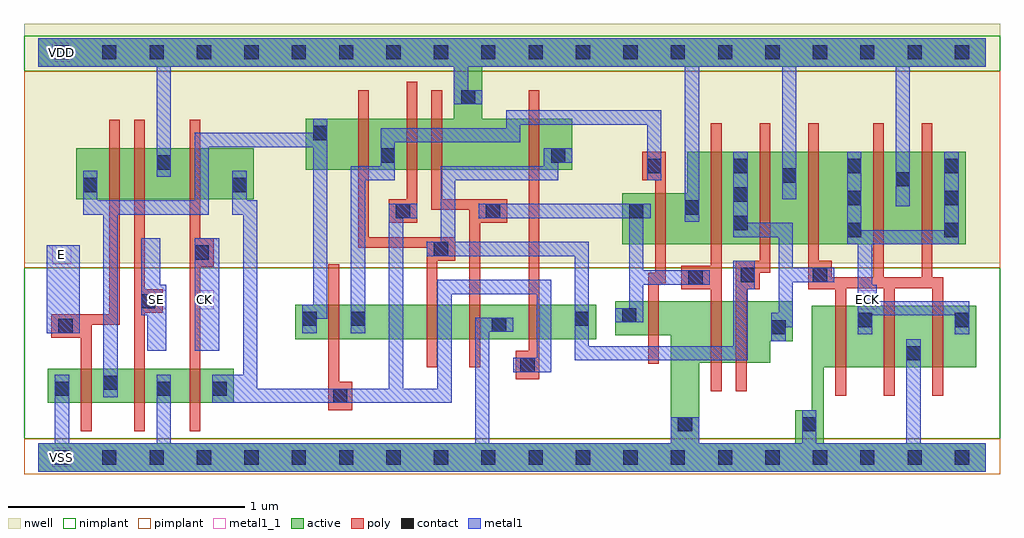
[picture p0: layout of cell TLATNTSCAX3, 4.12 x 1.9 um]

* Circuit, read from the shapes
.subckt TLATNTSCAX3 CK E ECK SE VDD VSS
M1 n1 E VSS VSS nfet w=0.145u l=0.045u
M2 VSS SE n1 VSS nfet w=0.145u l=0.045u
M3 n2 CK VSS VSS nfet w=0.145u l=0.045u
M4 n3 n2 n1 VSS nfet w=0.145u l=0.045u
M5 n4 n5 n3 VSS nfet w=0.145u l=0.045u
M6 VSS n6 n4 VSS nfet w=0.145u l=0.045u
M7 n5 n2 VSS VSS nfet w=0.145u l=0.045u
M8 VSS n3 n6 VSS nfet w=0.145u l=0.045u
M9 n7 n6 VSS VSS nfet w=0.26u l=0.045u
M10 n8 n5 n7 VSS nfet w=0.26u l=0.045u
M11 ECK n8 VSS VSS nfet w=0.26u l=0.045u m=3
M12 n9 E n1 VDD pfet w=0.215u l=0.045u
M13 VDD SE n9 VDD pfet w=0.215u l=0.045u
M14 n2 CK VDD VDD pfet w=0.215u l=0.045u
M15 n3 n5 n1 VDD pfet w=0.215u l=0.045u
M16 n10 n2 n3 VDD pfet w=0.215u l=0.045u
M17 VDD n6 n10 VDD pfet w=0.215u l=0.045u
M18 n5 n2 VDD VDD pfet w=0.215u l=0.045u
M19 VDD n3 n6 VDD pfet w=0.215u l=0.045u
M20 n8 n6 VDD VDD pfet w=0.39u l=0.045u
M21 VDD n5 n8 VDD pfet w=0.39u l=0.045u
M22 ECK n8 VDD VDD pfet w=0.39u l=0.045u m=3
.ends

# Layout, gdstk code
import gdstk
lib = gdstk.Library(unit=1e-6, precision=5e-10)
def R(c, l, rs):  # rectangles x0, y0, x1, y1
    for r in rs: c.add(gdstk.rectangle(r[:2], r[2:], *l))
def A(c, l, x, y, w, h, nx, ny, dx, dy):  # array of equal rectangles
    R(c, l, [(x+i*dx, y+j*dy, x+i*dx+w, y+j*dy+h) for i in range(nx) for j in range(ny)])
def P(c, l, *ps):  # polygons
    for p in ps: c.add(gdstk.Polygon(p, *l))
active = (1, 0)
nwell = (2, 0)
poly = (3, 0)
nimplant = (4, 0)
pimplant = (5, 0)
contact = (6, 0)
metal1 = (7, 0)
metal1_1 = (7, 1)

tlatntscax3 = lib.new_cell('TLATNTSCAX3')
R(tlatntscax3, active, [(0.04,0.23,0.825,0.375), (1.085,0.5,2.355,0.645), (0.16,1.09,0.91,1.305)])
P(tlatntscax3, active, [(0,1.77),(4,1.77),(4,1.65),(1.875,1.65),(1.875,1.43),(2.255,1.43),(2.255,1.215),(1.13,1.215),(1.13,1.43),(1.755,1.43),(1.755,1.65),(0,1.65)],
  [(2.74,1.29),(3.915,1.29),(3.915,0.9),(2.465,0.9),(2.465,1.115),(2.74,1.115)],
  [(2.435,0.66),(3.185,0.66),(3.185,0.49),(3.09,0.49),(3.09,0.4),(2.79,0.4),(2.79,0.06),(3.195,0.06),(3.195,0.2),(3.265,0.2),(3.265,0.64),(3.96,0.64),(3.96,0.38),(3.315,0.38),(3.315,0.06),(4,0.06),(4,-0.06),(0,-0.06),(0,0.06),(2.67,0.06),(2.67,0.515),(2.435,0.515)])
R(tlatntscax3, nwell, [(-0.06,0.82,4.06,1.83)])
P(tlatntscax3, poly, [(1.35,1.55),(1.395,1.55),(1.395,0.93),(1.76,0.93),(1.76,0.83),(1.685,0.83),(1.685,0.38),(1.64,0.38),(1.64,0.885),(1.35,0.885)],
  [(1.555,1.585),(1.6,1.585),(1.6,0.99),(1.48,0.99),(1.48,1.09),(1.555,1.09)],
  [(1.66,1.55),(1.705,1.55),(1.705,1.09),(1.98,1.09),(1.98,0.99),(1.865,0.99),(1.865,0.38),(1.82,0.38),(1.82,1.045),(1.66,1.045)],
  [(0.3,1.425),(0.345,1.425),(0.345,0.56),(0.225,0.56),(0.225,0.11),(0.18,0.11),(0.18,0.505),(0.055,0.505),(0.055,0.605),(0.3,0.605)],
  [(0.405,1.425),(0.45,1.425),(0.45,0.71),(0.525,0.71),(0.525,0.61),(0.45,0.61),(0.45,0.11),(0.405,0.11)],
  [(0.64,1.425),(0.685,1.425),(0.685,0.925),(0.74,0.925),(0.74,0.805),(0.685,0.805),(0.685,0.11),(0.64,0.11)],
  [(2.07,1.55),(2.115,1.55),(2.115,0.33),(2.015,0.33),(2.015,0.45),(2.07,0.45)],
  [(2.55,1.29),(2.65,1.29),(2.65,0.735),(2.62,0.735),(2.62,0.395),(2.575,0.395),(2.575,0.78),(2.605,0.78),(2.605,1.17),(2.55,1.17)],
  [(2.84,1.41),(2.885,1.41),(2.885,0.28),(2.84,0.28),(2.84,0.71),(2.715,0.71),(2.715,0.81),(2.84,0.81)],
  [(3.045,1.41),(3.09,1.41),(3.09,0.78),(3.045,0.78),(3.045,0.71),(2.99,0.71),(2.99,0.28),(2.945,0.28),(2.945,0.83),(3.045,0.83)],
  [(3.25,1.41),(3.295,1.41),(3.295,0.83),(3.35,0.83),(3.35,0.76),(3.525,0.76),(3.525,1.41),(3.57,1.41),(3.57,0.76),(3.73,0.76),(3.73,1.41),(3.775,1.41),(3.775,0.76),(3.82,0.76),(3.82,0.26),(3.775,0.26),(3.775,0.715),(3.615,0.715),(3.615,0.26),(3.57,0.26),(3.57,0.715),(3.41,0.715),(3.41,0.26),(3.365,0.26),(3.365,0.71),(3.25,0.71)],
  [(1.225,0.815),(1.27,0.815),(1.27,0.32),(1.325,0.32),(1.325,0.2),(1.225,0.2)])
R(tlatntscax3, nimplant, [(-0.06,0.08,4.06,0.8), (-0.06,1.63,4.06,1.78)])
R(tlatntscax3, pimplant, [(-0.06,-0.07,4.06,0.08), (-0.06,0.8,4.06,1.63)])
A(tlatntscax3, contact, 0.07, -0.03, 0.06, 0.06, 20, 2, 0.2, 1.71)
A(tlatntscax3, contact, 3.415, 0.93, 0.06, 0.06, 1, 3, 0, 0.135)
A(tlatntscax3, contact, 3.825, 0.93, 0.06, 0.06, 1, 3, 0, 0.135)
A(tlatntscax3, contact, 2.935, 0.96, 0.06, 0.06, 1, 3, 0, 0.12)
R(tlatntscax3, contact, [(2.7,0.11,2.76,0.17), (3.225,0.11,3.285,0.17), (1.245,0.23,1.305,0.29), (0.07,0.26,0.13,0.32), (0.5,0.26,0.56,0.32), (0.735,0.26,0.795,0.32), (0.275,0.285,0.335,0.345), (2.035,0.36,2.095,0.42), (3.665,0.41,3.725,0.47), (3.095,0.52,3.155,0.58), (0.085,0.525,0.145,0.585), (1.915,0.53,1.975,0.59), (3.46,0.55,3.52,0.61), (3.87,0.55,3.93,0.61), (1.115,0.555,1.175,0.615), (1.32,0.555,1.38,0.615), (2.265,0.555,2.325,0.615), (2.465,0.57,2.525,0.63), (0.435,0.63,0.495,0.69), (2.745,0.73,2.805,0.79), (2.965,0.74,3.025,0.8), (3.27,0.74,3.33,0.8), (0.66,0.835,0.72,0.895), (1.67,0.85,1.73,0.91), (1.51,1.01,1.57,1.07), (1.89,1.01,1.95,1.07), (2.495,1.01,2.555,1.07), (2.73,1.025,2.79,1.085), (0.19,1.12,0.25,1.18), (0.82,1.12,0.88,1.18), (3.62,1.145,3.68,1.205), (3.14,1.16,3.2,1.22), (2.57,1.2,2.63,1.26), (0.5,1.215,0.56,1.275), (1.445,1.245,1.505,1.305), (2.165,1.245,2.225,1.305), (1.16,1.34,1.22,1.4), (1.785,1.49,1.845,1.55)])
R(tlatntscax3, metal1, [(0.66,0.45,0.765,0.925), (0.035,0.525,0.175,0.895)])
P(tlatntscax3, metal1, [(0,1.77),(4,1.77),(4,1.65),(3.68,1.65),(3.68,1.06),(3.62,1.06),(3.62,1.65),(3.2,1.65),(3.2,1.09),(3.14,1.09),(3.14,1.65),(2.79,1.65),(2.79,0.995),(2.73,0.995),(2.73,1.65),(1.815,1.65),(1.815,1.55),(1.875,1.55),(1.875,1.49),(1.755,1.49),(1.755,1.65),(0.56,1.65),(0.56,1.185),(0.5,1.185),(0.5,1.65),(0,1.65)],
  [(1.975,1.465),(2.63,1.465),(2.63,1.17),(2.57,1.17),(2.57,1.405),(2.035,1.405),(2.035,1.33),(1.505,1.33),(1.505,1.17),(1.38,1.17),(1.38,0.525),(1.32,0.525),(1.32,1.23),(1.445,1.23),(1.445,1.39),(1.975,1.39)],
  [(1.16,1.43),(1.22,1.43),(1.22,0.585),(1.175,0.585),(1.175,0.525),(1.115,0.525),(1.115,0.645),(1.16,0.645),(1.16,1.31),(0.72,1.31),(0.72,1.025),(0.335,1.025),(0.335,0.255),(0.275,0.255),(0.275,1.025),(0.19,1.025),(0.19,1.21),(0.25,1.21),(0.25,1.085),(0.66,1.085),(0.66,1.37),(1.16,1.37)],
  [(0.82,1.21),(0.88,1.21),(0.88,1.085),(0.925,1.085),(0.925,0.29),(1.48,0.29),(1.48,1.07),(1.6,1.07),(1.6,1.01),(1.54,1.01),(1.54,0.29),(1.685,0.29),(1.685,0.75),(2.165,0.75),(2.165,0.36),(2.005,0.36),(2.005,0.42),(2.105,0.42),(2.105,0.69),(1.745,0.69),(1.745,0.23),(0.735,0.23),(0.735,0.35),(0.865,0.35),(0.865,1.025),(0.82,1.025)],
  [(0.435,0.925),(0.515,0.925),(0.515,0.73),(0.54,0.73),(0.54,0.45),(0.46,0.45),(0.46,0.6),(0.435,0.6)],
  [(1.845,0.59),(2.005,0.59),(2.005,0.53),(1.905,0.53),(1.905,0.06),(2.67,0.06),(2.67,0.17),(2.79,0.17),(2.79,0.06),(3.225,0.06),(3.225,0.2),(3.285,0.2),(3.285,0.06),(3.665,0.06),(3.665,0.5),(3.725,0.5),(3.725,0.06),(4,0.06),(4,-0.06),(0,-0.06),(0,0.06),(0.07,0.06),(0.07,0.35),(0.13,0.35),(0.13,0.06),(0.5,0.06),(0.5,0.35),(0.56,0.35),(0.56,0.06),(1.845,0.06)],
  [(2.135,1.305),(2.255,1.305),(2.255,1.245),(2.195,1.245),(2.195,1.17),(1.76,1.17),(1.76,0.91),(2.325,0.91),(2.325,0.47),(2.935,0.47),(2.935,0.83),(3.025,0.83),(3.025,0.71),(2.995,0.71),(2.995,0.41),(2.265,0.41),(2.265,0.85),(1.64,0.85),(1.64,0.91),(1.7,0.91),(1.7,1.23),(2.135,1.23)],
  [(1.86,1.07),(2.585,1.07),(2.585,1.01),(2.555,1.01),(2.555,0.79),(2.835,0.79),(2.835,0.73),(2.555,0.73),(2.555,0.57),(2.435,0.57),(2.435,0.63),(2.495,0.63),(2.495,1.01),(1.86,1.01)],
  [(2.935,1.29),(2.995,1.29),(2.995,0.99),(3.185,0.99),(3.185,0.8),(3.36,0.8),(3.36,0.74),(3.185,0.74),(3.185,0.55),(3.155,0.55),(3.155,0.49),(3.095,0.49),(3.095,0.61),(3.125,0.61),(3.125,0.93),(2.935,0.93)],
  [(3.415,1.29),(3.475,1.29),(3.475,0.96),(3.825,0.96),(3.825,1.29),(3.885,1.29),(3.885,0.9),(3.52,0.9),(3.52,0.73),(3.54,0.73),(3.54,0.66),(3.93,0.66),(3.93,0.52),(3.87,0.52),(3.87,0.6),(3.52,0.6),(3.52,0.52),(3.46,0.52),(3.46,0.9),(3.415,0.9)])
A(tlatntscax3, metal1_1, 0.06, -0.04, 0.08, 0.08, 1, 3, 0, 0.855)
R(tlatntscax3, metal1_1, [(0.46,0.625,0.54,0.705), (0.66,0.625,0.74,0.705), (3.46,0.625,3.54,0.705)])
tlatntscax3.add(gdstk.Label('ECK', (3.5,0.665), layer=7, texttype=1))
tlatntscax3.add(gdstk.Label('CK', (0.7,0.665), layer=7, texttype=1))
tlatntscax3.add(gdstk.Label('SE', (0.5,0.665), layer=7, texttype=1))
tlatntscax3.add(gdstk.Label('E', (0.1,0.855), layer=7, texttype=1))
tlatntscax3.add(gdstk.Label('VDD', (0.1,1.71), layer=7, texttype=1))
tlatntscax3.add(gdstk.Label('VSS', (0.1,0), layer=7, texttype=1))
tlatntscax3.add(gdstk.Label('TLATNTSCAX3', (0,0), layer=63, texttype=0))

lib.write_gds('TLATNTSCAX3.gds')
